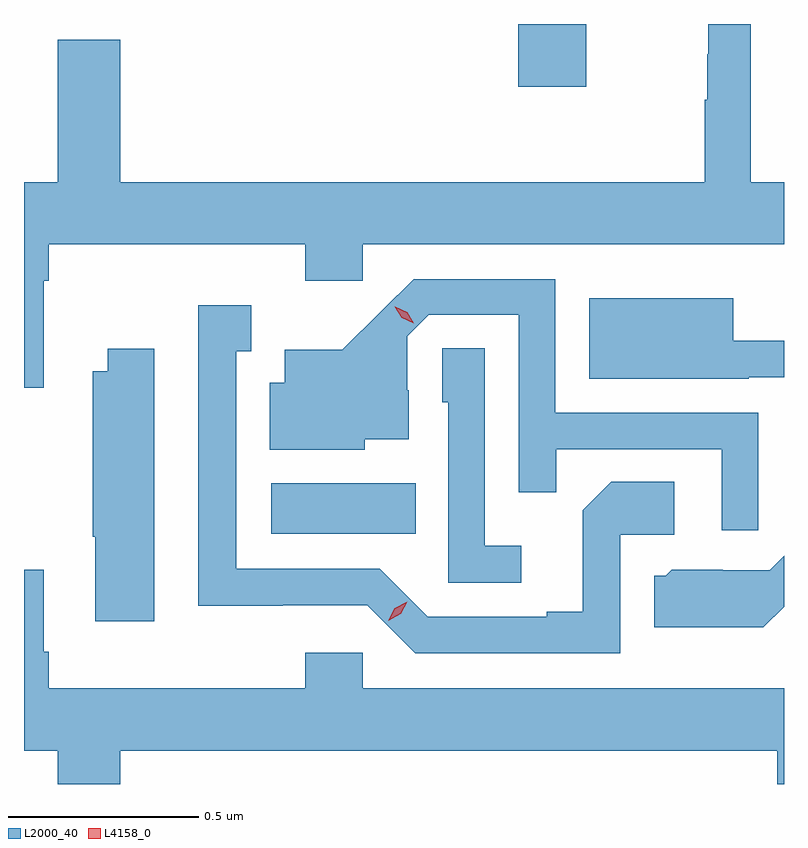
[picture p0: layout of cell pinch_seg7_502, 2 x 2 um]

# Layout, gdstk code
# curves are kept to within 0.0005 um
import gdstk
lib = gdstk.Library(unit=1e-6, precision=1e-09)
def R(c, l, rs):  # rectangles x0, y0, x1, y1
    for r in rs: c.add(gdstk.rectangle(r[:2], r[2:], *l))
def P(c, l, *ps):  # polygons
    for p in ps: c.add(gdstk.Polygon(p, *l))
L2000_40 = (2000, 40)
L4158_0 = (4158, 0)

pinch_seg7_502 = lib.new_cell('pinch_seg7_502')
R(pinch_seg7_502, L2000_40, [(213.522,1070.45,213.902,1070.584), (214.172,1071.627,214.35,1071.792)])
P(pinch_seg7_502, L2000_40, [(212.923,1071.116),(212.936,1071.116),(212.936,1071.212),(213.611,1071.212),(213.611,1071.117),(213.762,1071.117),(213.762,1071.212),(214.871,1071.212),(214.871,1071.376),(214.783,1071.376),(214.783,1071.792),(214.672,1071.792),(214.672,1071.713),(214.669,1071.713),(214.669,1071.593),(214.662,1071.593),(214.662,1071.376),(213.124,1071.376),(213.124,1071.751),(212.96,1071.751),(212.96,1071.376),(212.871,1071.376),(212.871,1070.835),(212.923,1070.835)],
  [(214.803,1070.769),(214.269,1070.769),(214.269,1071.12),(213.896,1071.12),(213.709,1070.935),(213.557,1070.935),(213.557,1070.848),(213.518,1070.848),(213.518,1070.672),(213.768,1070.672),(213.768,1070.699),(213.883,1070.699),(213.883,1070.828),(213.879,1070.828),(213.879,1070.97),(213.936,1071.027),(214.173,1071.027),(214.173,1070.56),(214.271,1070.56),(214.271,1070.673),(214.707,1070.673),(214.707,1070.46),(214.803,1070.46)],
  [(214.778,1070.862),(214.871,1070.862),(214.871,1070.959),(214.738,1070.959),(214.738,1071.07),(214.358,1071.07),(214.358,1070.858),(214.778,1070.858)],
  [(214.44,1070.448),(214.582,1070.448),(214.582,1070.588),(214.417,1070.588),(214.341,1070.512),(214.341,1070.245),(214.247,1070.245),(214.247,1070.232),(213.933,1070.232),(213.807,1070.358),(213.43,1070.358),(213.43,1070.931),(213.469,1070.931),(213.469,1071.052),(213.329,1071.052),(213.329,1070.261),(213.552,1070.261),(213.552,1070.262),(213.774,1070.262),(213.9,1070.136),(214.44,1070.136)],
  [(214.18,1070.419),(214.083,1070.419),(214.083,1070.939),(213.972,1070.939),(213.972,1070.796),(213.987,1070.796),(213.987,1070.322),(214.18,1070.322)],
  [(213.214,1070.938),(213.092,1070.938),(213.092,1070.878),(213.052,1070.878),(213.052,1070.443),(213.059,1070.443),(213.059,1070.22),(213.214,1070.22)],
  [(214.871,1070.259),(214.871,1070.393),(214.833,1070.355),(214.71,1070.355),(214.71,1070.356),(214.576,1070.356),(214.56,1070.34),(214.529,1070.34),(214.529,1070.204),(214.817,1070.204)],
  [(213.762,1070.137),(213.611,1070.137),(213.611,1070.044),(212.936,1070.044),(212.936,1070.14),(212.923,1070.14),(212.923,1070.356),(212.871,1070.356),(212.871,1069.88),(212.96,1069.88),(212.96,1069.792),(213.124,1069.792),(213.124,1069.88),(214.853,1069.88),(214.853,1069.792),(214.871,1069.792),(214.871,1070.044),(213.762,1070.044)])
P(pinch_seg7_502, L4158_0, [(213.896,1071.004),(213.865,1071.019),(213.847,1071.048),(213.847,1071.048),(213.848,1071.048),(213.879,1071.033),(213.896,1071.004),(213.896,1071.004)],
  [(213.83,1070.221),(213.83,1070.222),(213.847,1070.254),(213.879,1070.272),(213.879,1070.272),(213.879,1070.272),(213.862,1070.24),(213.83,1070.221)])

lib.write_gds('pinch_seg7_502.gds')
